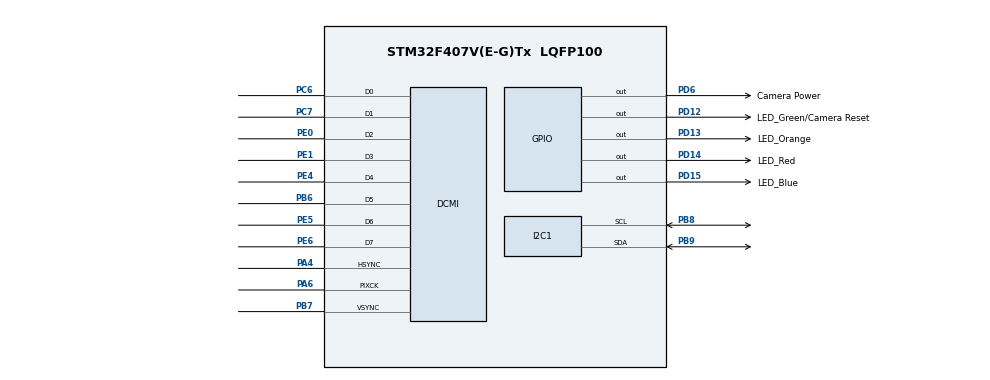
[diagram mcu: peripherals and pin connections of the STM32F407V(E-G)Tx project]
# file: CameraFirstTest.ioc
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DCMI.HSPolarity-Slave_8_bits_External_Synchro=DCMI_HSPOLARITY_HIGH
DCMI.VSPolarity-Slave_8_bits_External_Synchro=DCMI_VSPOLARITY_HIGH
Dma.DCMI.0.Channel=DMA_CHANNEL_1
Dma.DCMI.0.Direction=DMA_PERIPH_TO_MEMORY
Dma.DCMI.0.FIFOMode=DMA_FIFOMODE_DISABLE
Dma.DCMI.0.Instance=DMA2_Stream1
Dma.DCMI.0.MemDataAlignment=DMA_MDATAALIGN_WORD
Dma.DCMI.0.MemInc=DMA_MINC_ENABLE
Dma.DCMI.0.Mode=DMA_CIRCULAR
Dma.DCMI.0.PeriphDataAlignment=DMA_PDATAALIGN_WORD
Dma.DCMI.0.PeriphInc=DMA_PINC_DISABLE
Dma.DCMI.0.Priority=DMA_PRIORITY_HIGH
Dma.Request0=DCMI
Mcu.Family=STM32F4
Mcu.Name=STM32F407V(E-G)Tx
Mcu.Package=LQFP100
NVIC.DCMI_IRQn=true\:0\:0
NVIC.DMA2_Stream1_IRQn=true\:0\:0
NVIC.I2C1_ER_IRQn=true\:0\:0
NVIC.I2C1_EV_IRQn=true\:0\:0
NVIC.PriorityGroup=NVIC_PRIORITYGROUP_2
NVIC.TIM7_IRQn=true\:0\:0
PA4.GPIO_Mode=GPIO_MODE_AF_PP
PA4.GPIO_PuPd=GPIO_PULLUP
PA4.GPIO_Speed=GPIO_SPEED_HIGH
PA4.Mode=Slave_8_bits_External_Synchro
PA4.Signal=DCMI_HSYNC
PA6.GPIO_Mode=GPIO_MODE_AF_PP
PA6.GPIO_PuPd=GPIO_PULLUP
PA6.GPIO_Speed=GPIO_SPEED_HIGH
PA6.Mode=Slave_8_bits_External_Synchro
PA6.Signal=DCMI_PIXCK
PB6.GPIO_Mode=GPIO_MODE_AF_PP
PB6.GPIO_PuPd=GPIO_PULLUP
PB6.GPIO_Speed=GPIO_SPEED_HIGH
PB6.Mode=Slave_8_bits_External_Synchro
PB6.Signal=DCMI_D5
PB7.GPIO_Mode=GPIO_MODE_AF_PP
PB7.GPIO_PuPd=GPIO_PULLUP
PB7.GPIO_Speed=GPIO_SPEED_HIGH
PB7.Mode=Slave_8_bits_External_Synchro
PB7.Signal=DCMI_VSYNC
PB8.GPIO_Mode=GPIO_MODE_AF_OD
PB8.GPIO_PuPd=GPIO_PULLUP
PB8.GPIO_Speed=GPIO_SPEED_HIGH
PB8.Mode=I2C
PB8.Signal=I2C1_SCL
PB9.GPIO_Mode=GPIO_MODE_AF_OD
PB9.GPIO_PuPd=GPIO_PULLUP
PB9.GPIO_Speed=GPIO_SPEED_LOW
PB9.Mode=I2C
PB9.Signal=I2C1_SDA
PC6.GPIO_Mode=GPIO_MODE_AF_PP
PC6.GPIO_PuPd=GPIO_PULLUP
PC6.GPIO_Speed=GPIO_SPEED_HIGH
PC6.Mode=Slave_8_bits_External_Synchro
PC6.Signal=DCMI_D0
PC7.GPIO_Mode=GPIO_MODE_AF_PP
PC7.GPIO_PuPd=GPIO_PULLUP
PC7.GPIO_Speed=GPIO_SPEED_HIGH
PC7.Mode=Slave_8_bits_External_Synchro
PC7.Signal=DCMI_D1
PD12.GPIO_Label=LED_Green/Camera Reset
PD12.GPIO_ModeDefaultOutputPP=GPIO_MODE_OUTPUT_PP
PD12.GPIO_PuPd=GPIO_NOPULL
PD12.GPIO_Speed=GPIO_SPEED_FAST
PD12.Signal=GPIO_Output
PD13.GPIO_Label=LED_Orange
PD13.GPIO_ModeDefaultOutputPP=GPIO_MODE_OUTPUT_PP
PD13.GPIO_PuPd=GPIO_PULLDOWN
PD13.GPIO_Speed=GPIO_SPEED_FAST
PD13.Signal=GPIO_Output
PD14.GPIO_Label=LED_Red
PD14.GPIO_ModeDefaultOutputPP=GPIO_MODE_OUTPUT_PP
PD14.GPIO_PuPd=GPIO_PULLDOWN
PD14.GPIO_Speed=GPIO_SPEED_FAST
PD14.Signal=GPIO_Output
PD15.GPIO_Label=LED_Blue
PD15.GPIO_ModeDefaultOutputPP=GPIO_MODE_OUTPUT_PP
PD15.GPIO_PuPd=GPIO_PULLDOWN
PD15.GPIO_Speed=GPIO_SPEED_FAST
PD15.Signal=GPIO_Output
PD6.GPIO_Label=Camera Power
PD6.GPIO_ModeDefaultOutputPP=GPIO_MODE_OUTPUT_PP
PD6.GPIO_PuPd=GPIO_NOPULL
PD6.GPIO_Speed=GPIO_SPEED_FAST
PD6.Signal=GPIO_Output
PE0.GPIO_Mode=GPIO_MODE_AF_PP
PE0.GPIO_PuPd=GPIO_PULLUP
PE0.GPIO_Speed=GPIO_SPEED_HIGH
PE0.Mode=Slave_8_bits_External_Synchro
PE0.Signal=DCMI_D2
PE1.GPIO_Mode=GPIO_MODE_AF_PP
PE1.GPIO_PuPd=GPIO_PULLUP
PE1.GPIO_Speed=GPIO_SPEED_HIGH
PE1.Mode=Slave_8_bits_External_Synchro
PE1.Signal=DCMI_D3
PE4.GPIO_Mode=GPIO_MODE_AF_PP
PE4.GPIO_PuPd=GPIO_PULLUP
PE4.GPIO_Speed=GPIO_SPEED_HIGH
PE4.Mode=Slave_8_bits_External_Synchro
PE4.Signal=DCMI_D4
PE5.GPIO_Mode=GPIO_MODE_AF_PP
PE5.GPIO_PuPd=GPIO_PULLUP
PE5.GPIO_Speed=GPIO_SPEED_HIGH
PE5.Mode=Slave_8_bits_External_Synchro
PE5.Signal=DCMI_D6
PE6.GPIO_Mode=GPIO_MODE_AF_PP
PE6.GPIO_PuPd=GPIO_PULLUP
PE6.GPIO_Speed=GPIO_SPEED_HIGH
PE6.Mode=Slave_8_bits_External_Synchro
PE6.Signal=DCMI_D7
ProjectManager.TargetToolchain=MDK-ARM 4.73
RCC.APB1CLKDivider=RCC_HCLK_DIV4
RCC.APB2CLKDivider=RCC_HCLK_DIV2
RCC.HSE_VALUE=25000000
RCC.HSI_VALUE=16000000
RCC.LSE_VALUE=32768
RCC.PLLN=336
RCC.PLLQ=7
RCC.SYSCLKSource=RCC_SYSCLKSOURCE_PLLCLK
TIM7.Period=62499
TIM7.Prescaler=671
VP_CRC_VS_CRC.Mode=CRC_Activate
VP_TIM7_VS_ClockSourceINT.Mode=Enable_Timer

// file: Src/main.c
/**
  ******************************************************************************
  * File Name          : main.c
  * Date               : 06/06/2015 18:42:13
  * Description        : Main program body
  ******************************************************************************
  *
  * COPYRIGHT(c) 2015 STMicroelectronics
  *
  * Redistribution and use in source and binary forms, with or without modification,
  * are permitted provided that the following conditions are met:
  *   1. Redistributions of source code must retain the above copyright notice,
  *      this list of conditions and the following disclaimer.
  *   2. Redistributions in binary form must reproduce the above copyright notice,
  *      this list of conditions and the following disclaimer in the documentation
  *      and/or other materials provided with the distribution.
  *   3. Neither the name of STMicroelectronics nor the names of its contributors
  *      may be used to endorse or promote products derived from this software
  *      without specific prior written permission.
  *
  * THIS SOFTWARE IS PROVIDED BY THE COPYRIGHT HOLDERS AND CONTRIBUTORS "AS IS"
  * AND ANY EXPRESS OR IMPLIED WARRANTIES, INCLUDING, BUT NOT LIMITED TO, THE
  * IMPLIED WARRANTIES OF MERCHANTABILITY AND FITNESS FOR A PARTICULAR PURPOSE ARE
  * DISCLAIMED. IN NO EVENT SHALL THE COPYRIGHT HOLDER OR CONTRIBUTORS BE LIABLE
  * FOR ANY DIRECT, INDIRECT, INCIDENTAL, SPECIAL, EXEMPLARY, OR CONSEQUENTIAL
  * DAMAGES (INCLUDING, BUT NOT LIMITED TO, PROCUREMENT OF SUBSTITUTE GOODS OR
  * SERVICES; LOSS OF USE, DATA, OR PROFITS; OR BUSINESS INTERRUPTION) HOWEVER
  * CAUSED AND ON ANY THEORY OF LIABILITY, WHETHER IN CONTRACT, STRICT LIABILITY,
  * OR TORT (INCLUDING NEGLIGENCE OR OTHERWISE) ARISING IN ANY WAY OUT OF THE USE
  * OF THIS SOFTWARE, EVEN IF ADVISED OF THE POSSIBILITY OF SUCH DAMAGE.
  *
  ******************************************************************************
  */

#include "stm32f4xx_hal.h"
#include "crc.h"
#include "dcmi.h"
#include "dma.h"
#include "i2c.h"
#include "tim.h"
#include "gpio.h"

/* USER CODE BEGIN 0 */
#include "camera_i2c.h"
#include "dcmi_ov9655.h"

#define OV9655_DEVICE_WRITE_ADDRESS  	0x60
#define OV9655_DEVICE_READ_ADDRESS   	0x61

#define BNO055_DEVICE_ADDRESS 				0x28

#define  TIMEOUT  2

#define  CAMERA_RST_PIN			  GPIO_PIN_12
#define  CAMERA_RST_PORT		  GPIOD

#define  CAMERA_PWR_EN_PIN		GPIO_PIN_6
#define  CAMERA_PWR_EN_PORT		GPIOD

uint32_t 						dcmiError = 0;
HAL_StatusTypeDef		dcmiStatus;

#define  ORANG_LED_PIN		GPIO_PIN_13
#define  ORANG_LED_PORT		GPIOD

#define  RED_LED_PIN			GPIO_PIN_14
#define  RED_LED_PORT		  GPIOD

#define  BLUE_LED_PIN			GPIO_PIN_14
#define  BLUE_LED_PORT		GPIOD

//********************************************
#define CAMERA_WIDTH    640
//#define CAMERA_HEIGHT   480

//#define HORIZONTAL_SCALE_FACTOR 	2
//#define VERTICAL_SCALE_FACTOR   	2

//uint8_t pbuffer1[CAMERA_WIDTH * 8 * 2];
//uint8_t pbuffer2[CAMERA_WIDTH * 8 * 2];

uint8_t imageBuffer[ CAMERA_WIDTH * 8 * 2 ];

//********************************************

uint16_t vsyncCounter 	= 0;

uint16_t lineCounter		= 0;
uint16_t fullFrameLines = 0;

uint16_t frameCounter 	= 0;

uint16_t errorCounter 	= 0;

#define DCMI_TIMEOUT_MAX  10000

HAL_StatusTypeDef i2cRes;
uint8_t 					IDData[] = {0, 0, 0, 0};

/* USER CODE END 0 */

void SystemClock_Config(void);

int main(void)
{

  /* MCU Configuration----------------------------------------------------------*/

  /* Reset of all peripherals, Initializes the Flash interface and the Systick. */
  HAL_Init();

  /* Configure the system clock */
  SystemClock_Config();

  /* System interrupt init*/
  /* Sets the priority grouping field */
  HAL_NVIC_SetPriorityGrouping(NVIC_PRIORITYGROUP_2);
  HAL_NVIC_SetPriority(SysTick_IRQn, 0, 0);

  /* Initialize all configured peripherals */
  MX_GPIO_Init();
  MX_DMA_Init();
  MX_CRC_Init();
  MX_DCMI_Init();
  MX_I2C1_Init();
  MX_TIM7_Init();

  /* USER CODE BEGIN 2 */

	for(int i = 0; i < 1280; i++ )
		imageBuffer[i] = i;

	/*Reset camera*/
  HAL_GPIO_WritePin(CAMERA_RST_PORT, CAMERA_RST_PIN, GPIO_PIN_RESET);
  HAL_Delay(100);
  HAL_GPIO_WritePin(CAMERA_RST_PORT, CAMERA_RST_PIN, GPIO_PIN_SET);

	/* camera PWR EN pin configuration */
  HAL_GPIO_WritePin(CAMERA_PWR_EN_PORT, CAMERA_PWR_EN_PIN, GPIO_PIN_RESET);

	// Пробуем читать ID устройства ( Это рабочая фукция !!! ) *********************************
	i2cRes = HAL_I2C_Mem_Read ( 					&hi2c1,
															(uint16_t)BNO055_DEVICE_ADDRESS<<1,		// Адрес устройства
																				0x2, 												// Адрес регистра
																				I2C_MEMADD_SIZE_8BIT,				// Размерность данных
																				IDData, 										// Буфер для получения данных
																				4, 													// Сколько данных нужно получить
																				100);
	//********************************************************************************************

	//IDData[0] = DCMI_SingleRandomRead(OV9655_DEVICE_WRITE_ADDRESS, OV9655_MIDH);
	//IDData[1] = DCMI_SingleRandomRead(OV9655_DEVICE_WRITE_ADDRESS, OV9655_MIDL);

	// Пробуем поменять режим устройства
//	i2cRes = HAL_I2C_Mem_Read	( 				&hi2c1,
//														(uint16_t)OV9655_DEVICE_WRITE_ADDRESS,	// Адрес устройства
//																			OV9655_MIDH, 									// Адрес регистра
//																			I2C_MEMADD_SIZE_8BIT, 				// Размерность данных
//																			IDData, 											// Буфер для получения данных
//																			2, 														// Сколько данных нужно отправить
//																			100);

//	HAL_Delay( 10 );
//	IDData[0] = DCMI_SingleRandomRead	(OV9655_DEVICE_WRITE_ADDRESS,	OV9655_COM7	);
//	HAL_Delay( 10 );
//							DCMI_SingleRandomWrite(OV9655_DEVICE_WRITE_ADDRESS,	OV9655_COM7, 0x80	);
//	HAL_Delay( 10 );
//	IDData[1] = DCMI_SingleRandomRead	(OV9655_DEVICE_WRITE_ADDRESS, OV9655_COM7	);
//
//	/* Invert the HRef signal*/
//	DCMI_SingleRandomWrite(OV9655_DEVICE_WRITE_ADDRESS, OV9655_COM10, 0x08);

	DCMI_OV9655_VGASizeSetup();

	// Пробуем читать ID устройства ( Это рабочая фукция !!! ) *********************************
//	i2cRes = HAL_I2C_Mem_Read ( 					&hi2c1,
//															(uint16_t)BNO055_DEVICE_ADDRESS<<1,		// Адрес устройства
//																				0x2, 												// Адрес регистра
//																				I2C_MEMADD_SIZE_8BIT,				// Размерность данных
//																				IDData, 										// Буфер для получения данных
//																				4, 													// Сколько данных нужно получить
//																				100);
	//********************************************************************************************

	// Запустить камеру
	dcmiStatus = HAL_DCMI_Start_DMA ( &hdcmi, DCMI_MODE_CONTINUOUS, (uint32_t)imageBuffer, sizeof(imageBuffer) / sizeof(uint32_t) );

	if( HAL_OK != dcmiStatus )
	{
		dcmiError = HAL_DCMI_GetError ( &hdcmi );
		while (1){}
	}

  /* USER CODE END 2 */

  while (1)
  {
  }

}

/** System Clock Configuration
*/
void SystemClock_Config(void)
{

  RCC_ClkInitTypeDef RCC_ClkInitStruct;
  RCC_OscInitTypeDef RCC_OscInitStruct;

  __PWR_CLK_ENABLE();

  __HAL_PWR_VOLTAGESCALING_CONFIG(PWR_REGULATOR_VOLTAGE_SCALE1);

  RCC_OscInitStruct.OscillatorType = RCC_OSCILLATORTYPE_HSI;
  RCC_OscInitStruct.HSIState = RCC_HSI_ON;
  RCC_OscInitStruct.HSICalibrationValue = 6;
  RCC_OscInitStruct.PLL.PLLState = RCC_PLL_ON;
  RCC_OscInitStruct.PLL.PLLSource = RCC_PLLSOURCE_HSI;
  RCC_OscInitStruct.PLL.PLLM = 16;
  RCC_OscInitStruct.PLL.PLLN = 336;
  RCC_OscInitStruct.PLL.PLLP = RCC_PLLP_DIV2;
  RCC_OscInitStruct.PLL.PLLQ = 7;
  HAL_RCC_OscConfig(&RCC_OscInitStruct);

  RCC_ClkInitStruct.ClockType = RCC_CLOCKTYPE_SYSCLK|RCC_CLOCKTYPE_PCLK1
                              |RCC_CLOCKTYPE_PCLK2;
  RCC_ClkInitStruct.SYSCLKSource = RCC_SYSCLKSOURCE_PLLCLK;
  RCC_ClkInitStruct.AHBCLKDivider = RCC_SYSCLK_DIV1;
  RCC_ClkInitStruct.APB1CLKDivider = RCC_HCLK_DIV4;
  RCC_ClkInitStruct.APB2CLKDivider = RCC_HCLK_DIV2;
  HAL_RCC_ClockConfig(&RCC_ClkInitStruct, FLASH_LATENCY_5);

}

/* USER CODE BEGIN 4 */
/**
  * @brief  Configures all needed resources (I2C, DCMI and DMA) to interface with
  *         the OV9655 camera module
  * @param  None
  * @retval 0x00 Camera module configured correctly
  *         0xFF Camera module configuration failed
  */
uint8_t DCMI_OV9655Config(void)
{
  /* Reset and check the presence of the OV9655 camera module */
  if (DCMI_SingleRandomWrite(OV9655_DEVICE_WRITE_ADDRESS,0x12, 0x80))
  {
     return (0xFF);
  }

  ///* OV9655 Camera size setup */
  // DCMI_OV9655_VGASizeSetup();

  ///* Set the RGB565 mode */
  //DCMI_SingleRandomWrite(OV9655_DEVICE_WRITE_ADDRESS, OV9655_COM7, 0x63	);
  //DCMI_SingleRandomWrite(OV9655_DEVICE_WRITE_ADDRESS, OV9655_COM15, 0x10);
  ///* Set the Raw RGB mode */
  //DCMI_SingleRandomWrite(OV9655_DEVICE_WRITE_ADDRESS, OV9655_COM7, 0x60	);
  //DCMI_SingleRandomWrite(OV9655_DEVICE_WRITE_ADDRESS, OV9655_COM15, 0xc0);
  /* Set the YUV mode */
  DCMI_SingleRandomWrite(OV9655_DEVICE_WRITE_ADDRESS, OV9655_COM7, 	0x62);
  DCMI_SingleRandomWrite(OV9655_DEVICE_WRITE_ADDRESS, OV9655_TSLB, 	0xc0);
  DCMI_SingleRandomWrite(OV9655_DEVICE_WRITE_ADDRESS, OV9655_COM15, 0xc0);

  ///* Enable colour bar test mode */
  //DCMI_SingleRandomWrite(OV9655_DEVICE_WRITE_ADDRESS, OV9655_COM3, 0x80);
  //DCMI_SingleRandomWrite(OV9655_DEVICE_WRITE_ADDRESS, OV9655_COM20, 0x10);

  /* Enable night mode */
  // Actually, night mode seems to be a bad idea; it makes motion blur
  // much worse while reducing noise only a little bit.
  //DCMI_SingleRandomWrite(OV9655_DEVICE_WRITE_ADDRESS, OV9655_COM11, 0xe4);

  /* Invert the HRef signal*/
  DCMI_SingleRandomWrite(OV9655_DEVICE_WRITE_ADDRESS, OV9655_COM10, 0x08);

  /* Configure the DCMI to interface with the OV9655 camera module */
  // DCMI_Config();

  return (0x00);
}

/**
  * @brief  Configures the DCMI to interface with the OV9655 camera module.
  * @param  None
  * @retval None
  */
void DCMI_Config(void)
{

  /* DCMI configuration *******************************************************/
//  DCMI_InitStructure.DCMI_CaptureMode 			= DCMI_CaptureMode_Continuous;
//  DCMI_InitStructure.DCMI_SynchroMode 			= DCMI_SynchroMode_Hardware;
//
//  DCMI_InitStructure.DCMI_PCKPolarity 			= DCMI_PCKPolarity_Falling;
//
//  DCMI_InitStructure.DCMI_VSPolarity 				= DCMI_VSPolarity_High;
//  DCMI_InitStructure.DCMI_HSPolarity 				= DCMI_HSPolarity_High;
//
//  DCMI_InitStructure.DCMI_CaptureRate 			= DCMI_CaptureRate_All_Frame;
//  DCMI_InitStructure.DCMI_ExtendedDataMode 	= DCMI_ExtendedDataMode_8b;

//**************************************************************************************
/*
  // All horizontal crop values are multiplied by 2 because there are 2
  // pixel clocks per pixel.
  DCMI_CropInitStructure.DCMI_VerticalStartLine 		= 0;
  DCMI_CropInitStructure.DCMI_HorizontalOffsetCount = 0;

#ifdef CROP_LAST_BLOCK_ROW
  DCMI_CropInitStructure.DCMI_VerticalLineCount = CAMERA_HEIGHT - 8;
#else
  DCMI_CropInitStructure.DCMI_VerticalLineCount = CAMERA_HEIGHT;
#endif

  DCMI_CropInitStructure.DCMI_CaptureCount 			= CAMERA_WIDTH * 2;
  // According to the STM32F4 reference manual, the counts in the registers
  // are 1 less than the actual count.
  DCMI_CropInitStructure.DCMI_CaptureCount--;
  DCMI_CropInitStructure.DCMI_VerticalLineCount--;

  DCMI_Init(&DCMI_InitStructure);

  DCMI_CROPConfig(&DCMI_CropInitStructure);
  DCMI_CROPCmd(ENABLE);
	*/
//**************************************************************************************

  /* DMA2 interrupt configuration */
//  NVIC_InitTypeDef NVIC_InitStructure;
//  NVIC_InitStructure.NVIC_IRQChannel 										= DMA2_Stream1_IRQn;
//  NVIC_InitStructure.NVIC_IRQChannelPreemptionPriority 	= 0;
//  NVIC_InitStructure.NVIC_IRQChannelSubPriority 				= 0;
//  NVIC_InitStructure.NVIC_IRQChannelCmd 								= ENABLE;
//  NVIC_Init(&NVIC_InitStructure);

//**************************************************************************************
  /* Configures the DMA2 to transfer Data from DCMI to the LCD ****************/
  /* Enable DMA2 clock */
  // RCC_AHB1PeriphClockCmd(RCC_AHB1Periph_DMA2, ENABLE);

  /* DMA2 Stream1 Configuration */
  // DMA_DeInit(DMA2_Stream1);

/*
  DMA_InitStructure.DMA_Channel 						= DMA_Channel_1;
  DMA_InitStructure.DMA_PeripheralBaseAddr 	= DCMI_DR_ADDRESS;
  DMA_InitStructure.DMA_Memory0BaseAddr 		= (uint32_t)pbuffer1;

  DMA_InitStructure.DMA_DIR 								= DMA_DIR_PeripheralToMemory;
  DMA_InitStructure.DMA_BufferSize 					= sizeof(pbuffer1) / sizeof(uint32_t);

  DMA_InitStructure.DMA_PeripheralInc 			= DMA_PeripheralInc_Disable;
  DMA_InitStructure.DMA_MemoryInc 					= DMA_MemoryInc_Enable;

  DMA_InitStructure.DMA_PeripheralDataSize 	= DMA_PeripheralDataSize_Word;
  DMA_InitStructure.DMA_MemoryDataSize 			= DMA_MemoryDataSize_Word;

  DMA_InitStructure.DMA_Mode 								= DMA_Mode_Circular;

  DMA_InitStructure.DMA_Priority 						= DMA_Priority_High;

  DMA_InitStructure.DMA_FIFOMode 						= DMA_FIFOMode_Enable;

  DMA_InitStructure.DMA_FIFOThreshold 			= DMA_FIFOThreshold_Full;
  DMA_InitStructure.DMA_MemoryBurst 				= DMA_MemoryBurst_Single;
  DMA_InitStructure.DMA_PeripheralBurst 		= DMA_PeripheralBurst_Single;

  DMA_Init(DMA2_Stream1, &DMA_InitStructure);

  DMA_DoubleBufferModeConfig(DMA2_Stream1, (uint32_t)pbuffer2, DMA_Memory_0);
  DMA_DoubleBufferModeCmd(DMA2_Stream1, ENABLE);
  DMA_ITConfig(DMA2_Stream1, DMA_IT_TC, ENABLE);
	*/
}

/**
  * @brief  Error DCMI callback.
  * @param  hdcmi: pointer to a DCMI_HandleTypeDef structure that contains
  *                the configuration information for DCMI.
  * @retval None
  */
void HAL_DCMI_ErrorCallback(DCMI_HandleTypeDef *hdcmi)
{
	dcmiError = HAL_DCMI_GetError ( hdcmi );

	errorCounter++;
	// while(1){}
}

/**
  * @brief  Line Event callback.
  * @param  hdcmi: pointer to a DCMI_HandleTypeDef structure that contains
  *                the configuration information for DCMI.
  * @retval None
  */
void HAL_DCMI_LineEventCallback(DCMI_HandleTypeDef *hdcmi)
{
  // Закончилось считывание линии
		lineCounter++;
}

/**
  * @brief  VSYNC Event callback.
  * @param  hdcmi: pointer to a DCMI_HandleTypeDef structure that contains
  *                the configuration information for DCMI.
  * @retval None
  */
void HAL_DCMI_VsyncEventCallback(DCMI_HandleTypeDef *hdcmi)
{
	vsyncCounter++;
	//lineCounter = 0;

	__HAL_DCMI_ENABLE_IT(hdcmi, DCMI_IT_VSYNC);
}

/**
  * @brief  Frame Event callback.
  * @param  hdcmi: pointer to a DCMI_HandleTypeDef structure that contains
  *                the configuration information for DCMI.
  * @retval None
  */
void HAL_DCMI_FrameEventCallback(DCMI_HandleTypeDef *hdcmi)
{
	// Законилась загрузка рисунка
	frameCounter++;
	fullFrameLines = lineCounter;
	lineCounter = 0;

	__HAL_DCMI_ENABLE_IT(hdcmi, DCMI_IT_FRAME);
}

void HardFault_Handler(void)
{
	HAL_GPIO_WritePin( RED_LED_PORT, RED_LED_PIN, GPIO_PIN_SET);
  /* Go to infinite loop when Hard Fault exception occurs */
  while (1)
  {
  }
}

/* USER CODE END 4 */

/************************ (C) COPYRIGHT STMicroelectronics *****END OF FILE****/
